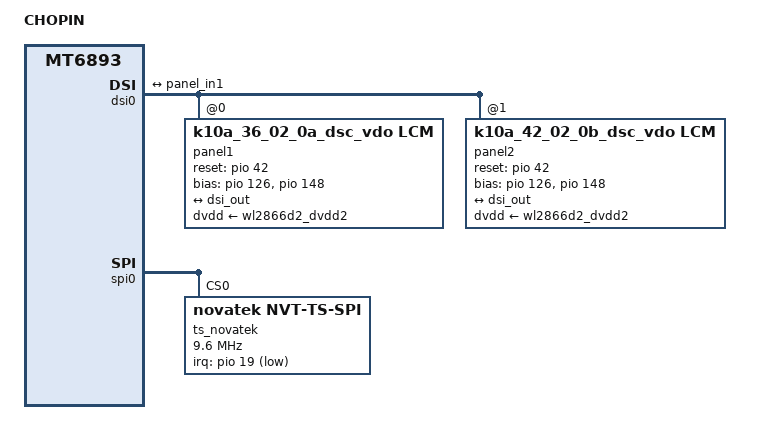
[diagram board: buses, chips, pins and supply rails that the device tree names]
/*
 * Chopin (Xiaomi MT6891) board-level overlay for 4.19 base.
 *
 * Scope: display bring-up only (per user request 2026-10-04).
 *
 * Includes:
 *   - K10A DSI panel on &dsi0
 *   - Novatek NT36672C touch on &spi0 (touch is part of the display
 *     assembly, kept here for completeness; can be disabled if it
 *     interferes)
 *   - WL2866D LDOs on &i2c7 (panel dvdd/avdd)
 *   - pinctrl for touch IRQ/CS
 *
 * Charger / fuel gauge nodes (BQ2597x, BQ27Z561, xmusb350) are
 * intentionally NOT included yet - to be added in a later pass.
 */

/ {
	model = "CHOPIN";
	compatible = "mediatek,MT6893";
};

/* ===================== DSI / Panel (K10A) ===================== */
&dsi0 {
	status = "okay";
	#address-cells = <1>;
	#size-cells = <0>;

	panel1@0 {
		compatible = "k10a_36_02_0a_dsc_vdo,lcm";
		reg = <0>;
		dvdd-supply = <&wl2866d2_dvdd2>;
		reset-gpios = <&pio 42 0>;
		bias-gpios = <&pio 126 0>,
			<&pio 148 0>;
		pinctrl-names = "default";
		port {
			panel_in1: endpoint {
				remote-endpoint = <&dsi_out>;
			};
		};
	};

	panel2@1 {
		compatible = "k10a_42_02_0b_dsc_vdo,lcm";
		reg = <1>;
		dvdd-supply = <&wl2866d2_dvdd2>;
		reset-gpios = <&pio 42 0>;
		bias-gpios = <&pio 126 0>,
			<&pio 148 0>;
		pinctrl-names = "default";
		port {
			panel_in2: endpoint {
				remote-endpoint = <&dsi_out>;
			};
		};
	};

	ports {
		port {
			dsi_out: endpoint {
				remote-endpoint = <&panel_in1>;
			};
		};
	};
};

/* ===================== Touch (Novatek NT36672C, SPI0) ===================== */
&spi0 {
	#address-cells = <1>;
	#size-cells = <0>;
	status = "okay";
	mediatek,pad-select = <1>;
	mediatek,kthread-rt = <1>;

	ts_novatek@0 {
		compatible = "novatek,NVT-ts-spi";
		reg = <0>;
		status = "ok";
		spi-max-frequency = <9600000>;
		novatek,irq-gpio = <&pio 19 0x2001>;
		pinctrl-names = "pmx_ts_active", "pmx_ts_suspend";
		pinctrl-0 = <&ts_int_active &ts_cs_active>;
		pinctrl-1 = <&ts_int_suspend &ts_cs_suspend>;
		novatek,swrst-n8-addr = <0x03F0FE>;
		novatek,spi-rd-fast-addr = <0x03F310>;
		novatek,config-array-size = <2>;
		novatek,cfg_0 {
			novatek,tp-vendor = <0x46>;
			novatek,display-maker = <0x36>;
			novatek,fw-name = "novatek_nt36672c_k10a_fw01.bin";
			novatek,mp-name = "novatek_nt36672c_k10a_mp01.bin";
			novatek,clicknum-file-name = "nvt+tianma";
		};
		novatek,cfg_1 {
			novatek,tp-vendor = <0x53>;
			novatek,display-maker = <0x42>;
			novatek,fw-name = "novatek_nt36672c_k10a_fw02.bin";
			novatek,mp-name = "novatek_nt36672c_k10a_mp02.bin";
			novatek,clicknum-file-name = "nvt+csot";
		};
	};
};

/* ===================== Pinctrl (touch IRQ/CS) ===================== */
&pio {
	/* Touch INT / CS */
	ts_int_active: int_active {
		pins_cmd_dat {
			pinmux = <PINMUX_GPIO19__FUNC_GPIO19>;
			slew-rate = <0>;
			bias-disable;
		};
	};
	ts_int_suspend: int_suspend {
		pins_cmd_dat {
			pinmux = <PINMUX_GPIO19__FUNC_GPIO19>;
			slew-rate = <1>;
			output-low;
		};
	};
	ts_cs_active: ts_cs_active {
		pins_cmd_dat {
			pinmux = <PINMUX_GPIO169__FUNC_SPI0_B_CSB>,
				 <PINMUX_GPIO170__FUNC_SPI0_B_MI>;
		};
	};
	ts_cs_suspend: ts_cs_suspend {
		pins_cmd_dat {
			pinmux = <PINMUX_GPIO169__FUNC_GPIO169>,
				 <PINMUX_GPIO170__FUNC_GPIO170>;
			slew-rate = <1>;
			bias-pull-down;
			output-low;
		};
	};
};

&tboard_thermistor4 {
	thermal_rename = "charger_therm";
};
